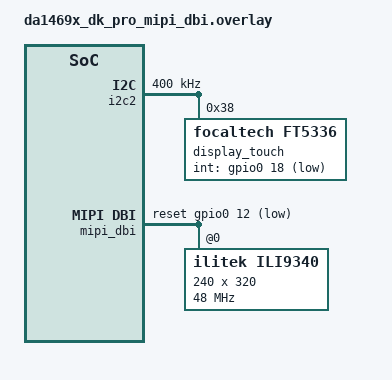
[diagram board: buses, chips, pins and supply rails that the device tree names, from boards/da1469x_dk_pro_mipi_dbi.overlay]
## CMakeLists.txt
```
# Copyright (c) 2023 Fabian Blatz <fabianblatz@gmail.com>
# SPDX-License-Identifier: Apache-2.0

cmake_minimum_required(VERSION 3.20.0)

find_package(Zephyr REQUIRED HINTS $ENV{ZEPHYR_BASE})
project(lvgl_sample)

set(LVGL_DIR ${ZEPHYR_LVGL_MODULE_DIR})

FILE(GLOB app_sources src/*.c)
target_sources(app PRIVATE
    ${app_sources}
    ${LVGL_DIR}/demos/lv_demos.c
)

target_include_directories(app PRIVATE
    ${LVGL_DIR}/demos/
)

target_sources_ifdef(CONFIG_LV_USE_DEMO_MUSIC app PRIVATE
    ${LVGL_DIR}/demos/music/assets/img_lv_demo_music_btn_corner_large.c
    ${LVGL_DIR}/demos/music/assets/img_lv_demo_music_btn_list_pause.c
    ${LVGL_DIR}/demos/music/assets/img_lv_demo_music_btn_list_pause_large.c
    ${LVGL_DIR}/demos/music/assets/img_lv_demo_music_btn_list_play.c
    ${LVGL_DIR}/demos/music/assets/img_lv_demo_music_btn_list_play_large.c
    ${LVGL_DIR}/demos/music/assets/img_lv_demo_music_btn_loop.c
    ${LVGL_DIR}/demos/music/assets/img_lv_demo_music_btn_loop_large.c
    ${LVGL_DIR}/demos/music/assets/img_lv_demo_music_btn_next.c
    ${LVGL_DIR}/demos/music/assets/img_lv_demo_music_btn_next_large.c
    ${LVGL_DIR}/demos/music/assets/img_lv_demo_music_btn_pause.c
    ${LVGL_DIR}/demos/music/assets/img_lv_demo_music_btn_pause_large.c
    ${LVGL_DIR}/demos/music/assets/img_lv_demo_music_btn_play.c
    ${LVGL_DIR}/demos/music/assets/img_lv_demo_music_btn_play_large.c
    ${LVGL_DIR}/demos/music/assets/img_lv_demo_music_btn_prev.c
    ${LVGL_DIR}/demos/music/assets/img_lv_demo_music_btn_prev_large.c
    ${LVGL_DIR}/demos/music/assets/img_lv_demo_music_btn_rnd.c
    ${LVGL_DIR}/demos/music/assets/img_lv_demo_music_btn_rnd_large.c
    ${LVGL_DIR}/demos/music/assets/img_lv_demo_music_corner_left.c
    ${LVGL_DIR}/demos/music/assets/img_lv_demo_music_corner_left_large.c
    ${LVGL_DIR}/demos/music/assets/img_lv_demo_music_corner_right.c
    ${LVGL_DIR}/demos/music/assets/img_lv_demo_music_corner_right_large.c
    ${LVGL_DIR}/demos/music/assets/img_lv_demo_music_cover_1.c
    ${LVGL_DIR}/demos/music/assets/img_lv_demo_music_cover_1_large.c
    ${LVGL_DIR}/demos/music/assets/img_lv_demo_music_cover_2.c
    ${LVGL_DIR}/demos/music/assets/img_lv_demo_music_cover_2_large.c
    ${LVGL_DIR}/demos/music/assets/img_lv_demo_music_cover_3.c
    ${LVGL_DIR}/demos/music/assets/img_lv_demo_music_cover_3_large.c
    ${LVGL_DIR}/demos/music/assets/img_lv_demo_music_icon_1.c
    ${LVGL_DIR}/demos/music/assets/img_lv_demo_music_icon_1_large.c
    ${LVGL_DIR}/demos/music/assets/img_lv_demo_music_icon_2.c
    ${LVGL_DIR}/demos/music/assets/img_lv_demo_music_icon_2_large.c
    ${LVGL_DIR}/demos/music/assets/img_lv_demo_music_icon_3.c
    ${LVGL_DIR}/demos/music/assets/img_lv_demo_music_icon_3_large.c
    ${LVGL_DIR}/demos/music/assets/img_lv_demo_music_icon_4.c
    ${LVGL_DIR}/demos/music/assets/img_lv_demo_music_icon_4_large.c
    ${LVGL_DIR}/demos/music/assets/img_lv_demo_music_list_border.c
    ${LVGL_DIR}/demos/music/assets/img_lv_demo_music_list_border_large.c
    ${LVGL_DIR}/demos/music/assets/img_lv_demo_music_logo.c
    ${LVGL_DIR}/demos/music/assets/img_lv_demo_music_slider_knob.c
    ${LVGL_DIR}/demos/music/assets/img_lv_demo_music_slider_knob_large.c
    ${LVGL_DIR}/demos/music/assets/img_lv_demo_music_wave_bottom.c
    ${LVGL_DIR}/demos/music/assets/img_lv_demo_music_wave_bottom_large.c
    ${LVGL_DIR}/demos/music/assets/img_lv_demo_music_wave_top.c
    ${LVGL_DIR}/demos/music/assets/img_lv_demo_music_wave_top_large.c
    ${LVGL_DIR}/demos/music/lv_demo_music.c
    ${LVGL_DIR}/demos/music/lv_demo_music_list.c
    ${LVGL_DIR}/demos/music/lv_demo_music_main.c
)

target_sources_ifdef(CONFIG_LV_USE_DEMO_BENCHMARK app PRIVATE
    ${LVGL_DIR}/demos/benchmark/assets/img_benchmark_avatar.c
    ${LVGL_DIR}/demos/benchmark/assets/img_benchmark_lvgl_logo_argb.c
    ${LVGL_DIR}/demos/benchmark/assets/img_benchmark_lvgl_logo_rgb.c
    ${LVGL_DIR}/demos/benchmark/assets/lv_font_benchmark_montserrat_12_aligned.c
    ${LVGL_DIR}/demos/benchmark/assets/lv_font_benchmark_montserrat_14_aligned.c
    ${LVGL_DIR}/demos/benchmark/assets/lv_font_benchmark_montserrat_16_aligned.c
    ${LVGL_DIR}/demos/benchmark/assets/lv_font_benchmark_montserrat_18_aligned.c
    ${LVGL_DIR}/demos/benchmark/assets/lv_font_benchmark_montserrat_20_aligned.c
    ${LVGL_DIR}/demos/benchmark/assets/lv_font_benchmark_montserrat_24_aligned.c
    ${LVGL_DIR}/demos/benchmark/assets/lv_font_benchmark_montserrat_26_aligned.c
    ${LVGL_DIR}/demos/benchmark/lv_demo_benchmark.c
)

target_sources_ifdef(CONFIG_LV_USE_DEMO_STRESS app PRIVATE
    ${LVGL_DIR}/demos/stress/lv_demo_stress.c
)

target_sources_ifdef(CONFIG_LV_USE_DEMO_WIDGETS app PRIVATE
    ${LVGL_DIR}/demos/widgets/assets/img_clothes.c
    ${LVGL_DIR}/demos/widgets/assets/img_demo_widgets_avatar.c
    ${LVGL_DIR}/demos/widgets/assets/img_demo_widgets_needle.c
    ${LVGL_DIR}/demos/widgets/assets/img_lvgl_logo.c
    ${LVGL_DIR}/demos/widgets/lv_demo_widgets.c
    ${LVGL_DIR}/demos/widgets/lv_demo_widgets_analytics.c
    ${LVGL_DIR}/demos/widgets/lv_demo_widgets_components.c
    ${LVGL_DIR}/demos/widgets/lv_demo_widgets_profile.c
    ${LVGL_DIR}/demos/widgets/lv_demo_widgets_shop.c
)

target_sources_ifdef(CONFIG_LV_USE_DEMO_KEYPAD_AND_ENCODER app PRIVATE
    ${LVGL_DIR}/demos/keypad_encoder/lv_demo_keypad_encoder.c
)

target_sources_ifdef(CONFIG_LV_USE_DEMO_RENDER app PRIVATE
    ${LVGL_DIR}/demos/render/lv_demo_render.c
    ${LVGL_DIR}/demos/render/assets/img_render_lvgl_logo_rgb565.c
    ${LVGL_DIR}/demos/render/assets/img_render_lvgl_logo_rgb565a8.c
    ${LVGL_DIR}/demos/render/assets/img_render_lvgl_logo_xrgb8888.c
    ${LVGL_DIR}/demos/render/assets/img_render_lvgl_logo_argb8888_premultiplied.c
    ${LVGL_DIR}/demos/render/assets/img_render_lvgl_logo_argb8888.c
    ${LVGL_DIR}/demos/render/assets/img_render_lvgl_logo_rgb888.c
    ${LVGL_DIR}/demos/render/assets/img_render_arc_bg.c
    ${LVGL_DIR}/demos/render/assets/img_render_lvgl_logo_i1.c
    ${LVGL_DIR}/demos/render/assets/img_render_lvgl_logo_rgb565_swapped.c
    ${LVGL_DIR}/demos/render/assets/img_render_lvgl_logo_l8.c
)
```

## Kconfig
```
# Copyright (c) 2023 Fabian Blatz <fabianblatz@gmail.com>
# SPDX-License-Identifier: Apache-2.0

choice LV_Z_DEMO
	prompt "LVGL demo to build"
	default LV_Z_DEMO_MUSIC
	help
	  Demo application to build.

config LV_Z_DEMO_MUSIC
	bool "LVGL music demo"
	select LV_USE_DEMO_MUSIC
	help
	  Build music player demo application.

config LV_Z_DEMO_BENCHMARK
	bool "LVGL benchmark demo"
	select LV_USE_DEMO_BENCHMARK
	select LV_USE_DEMO_WIDGETS
	imply LV_USE_PERF_MONITOR
	imply LV_USE_SYSMON
	help
	  Build benchmarking demo application.

config LV_Z_DEMO_STRESS
	bool "LVGL stress demo"
	select LV_USE_DEMO_STRESS
	help
	  Build stress testing demo application.

config LV_Z_DEMO_WIDGETS
	bool "LVGL widgets demo"
	select LV_USE_DEMO_WIDGETS
	help
	  Build widgets demo application.

config LV_Z_DEMO_KEYPAD_AND_ENCODER
	bool "LVGL keypad and encoder demo"
	select LV_USE_DEMO_KEYPAD_AND_ENCODER
	help
	  Build keypad and encoder demo application.

config LV_Z_DEMO_RENDER
	bool "LVGL render demo"
	select LV_USE_DEMO_RENDER
	help
	  Build render demo application.

endchoice

if LV_Z_DEMO_RENDER

config LV_Z_DEMO_RENDER_SCENE_DYNAMIC
	bool "Switch scenes dynamically"
	help
	  Switch between scenes to render dynamically.

config LV_Z_DEMO_RENDER_SCENE_INDEX
	int "Index of the rendered scene"
	depends on !LV_Z_DEMO_RENDER_SCENE_DYNAMIC
	default 0
	range 0 11
	help
	  Render scene by its index (refer to lv_demo_render.h)

config LV_Z_DEMO_RENDER_DYNAMIC_SCENE_TIMEOUT
	int "Seconds each rendered scene is shown"
	depends on LV_Z_DEMO_RENDER_SCENE_DYNAMIC
	default 3
	help
	  Seconds each rendered scenar is shown

endif

configdefault CPU_LOAD
	default y if LV_USE_SYSMON

configdefault LV_Z_POINTER_FROM_CHOSEN_TOUCH
	default n if LV_Z_DEMO_KEYPAD_AND_ENCODER

source "Kconfig.zephyr"
```

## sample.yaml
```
sample:
  description: LVGL sample, containing all upstream demos
  name: LVGL demos
common:
  modules:
    - lvgl
  harness: console
  filter: dt_chosen_enabled("zephyr,display")
  tags:
    - samples
    - display
    - lvgl
    - gui
  harness_config:
    fixture: fixture_display
    type: one_line
    regex:
      - >-
        (\d+ free bytes, \d+ allocated bytes, overhead = \d+
        bytes \(\d+\.\d+%\)|lvgl in malloc mode)
tests:
  sample.modules.lvgl.demo_music:
    platform_allow:
      - native_sim
    extra_configs:
      - CONFIG_LV_Z_DEMO_MUSIC=y
  sample.modules.lvgl.demo_benchmark:
    platform_allow:
      - native_sim
    extra_configs:
      - CONFIG_LV_Z_DEMO_BENCHMARK=y
      - CONFIG_LV_USE_DEMO_WIDGETS=y
  sample.modules.lvgl.demo_stress:
    platform_allow:
      - native_sim
    extra_configs:
      - CONFIG_LV_Z_DEMO_STRESS=y
  sample.modules.lvgl.demo_widgets:
    platform_allow:
      - native_sim
    extra_configs:
      - CONFIG_LV_Z_DEMO_WIDGETS=y
  sample.modules.lvgl.demo_keypad_encoder:
    platform_allow:
      - native_sim
    extra_configs:
      - CONFIG_LV_Z_DEMO_KEYPAD_AND_ENCODER=y
  sample.modules.lvgl.demo_render:
    platform_allow:
      - native_sim
    extra_configs:
      - CONFIG_LV_Z_DEMO_RENDER=y
  sample.modules.lvgl.demo_benchmark.lvgl_auto:
    platform_allow:
      - native_sim
    extra_configs:
      - CONFIG_LV_Z_DEMO_BENCHMARK=y
      - CONFIG_LV_USE_DEMO_WIDGETS=y
      - CONFIG_LV_Z_RUN_LVGL_ON_WORKQUEUE=y
      - CONFIG_LV_Z_LVGL_WORKQUEUE_STACK_SIZE=8192
      - CONFIG_LV_Z_LVGL_WORKQUEUE_PRIORITY=0
  sample.modules.lvgl.demos.rk043fn66hs_ctg:
    platform_allow: mimxrt1060_evk/mimxrt1062/qspi
    extra_args: SHIELD=rk043fn66hs_ctg
    extra_configs:
      - CONFIG_LV_Z_DEMO_BENCHMARK=y
    tags:
      - shield
  sample.modules.lvgl.demos.rk055hdmipi4ma0:
    platform_allow:
      - mimxrt1170_evk/mimxrt1176/cm7
      - mimxrt595_evk/mimxrt595s/cm33
      - mimxrt700_evk/mimxrt798s/cm33_cpu0
    extra_args: SHIELD=rk055hdmipi4ma0
    extra_configs:
      - CONFIG_LV_Z_DEMO_BENCHMARK=y
    tags:
      - shield
  sample.modules.lvgl.demos.g1120b0mipi:
    platform_allow: mimxrt700_evk/mimxrt798s/cm33_cpu0
    extra_args: SHIELD=g1120b0mipi
    extra_configs:
      - CONFIG_LV_Z_DEMO_BENCHMARK=y
    tags:
      - shield
  sample.modules.lvgl.demos.zc143ac72mipi:
    platform_allow: mimxrt700_evk/mimxrt798s/cm33_cpu0
    extra_args: SHIELD=zc143ac72mipi
    extra_configs:
      - CONFIG_LV_Z_DEMO_BENCHMARK=y
    tags:
      - shield
  sample.modules.lvgl.demos.st_b_lcd40_dsi1_mb1166:
    filter: dt_compat_enabled("orisetech,otm8009a")
    platform_allow: stm32h747i_disco/stm32h747xx/m7
    extra_args: SHIELD=st_b_lcd40_dsi1_mb1166
    extra_configs:
      - CONFIG_LV_Z_DEMO_BENCHMARK=y
    tags:
      - shield
  sample.modules.lvgl.demos.st_b_lcd40_dsi1_mb1166_a09:
    filter: dt_compat_enabled("frida,nt35510")
    platform_allow: stm32h747i_disco/stm32h747xx/m7
    extra_args: SHIELD=st_b_lcd40_dsi1_mb1166_a09
    extra_configs:
      - CONFIG_LV_Z_DEMO_BENCHMARK=y
    tags:
      - shield
  sample.modules.lvgl.demos.rtkmipilcdb00000be:
    platform_allow:
      - ek_ra8d1
      - ek_ra8p1/r7ka8p1kflcac/cm85
    extra_args: SHIELD=rtkmipilcdb00000be
    tags:
      - shield
  sample.modules.lvgl.demos.rtk7eka6m3b00001bu:
    platform_allow: ek_ra8d1
    extra_args:
      - SHIELD="rtk7eka6m3b00001bu;ek_ra8d1_rtk7eka6m3b00001bu"
    extra_configs:
      - CONFIG_LV_DEMO_MUSIC_LANDSCAPE=y
    tags:
      - shield
  sample.modules.lvgl.demos.rtklcdpar1s00001be:
    platform_allow:
      - ek_ra8p1/r7ka8p1kflcac/cm85
      - ek_ra8d2/r7ka8d2kflcac/cm85
    harness: console
    harness_config:
      fixture: fixture_display
    extra_args:
      - SHIELD=rtklcdpar1s00001be
    extra_configs:
      - CONFIG_LV_DEMO_MUSIC_LANDSCAPE=y
    tags:
      - shield
```

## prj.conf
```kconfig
CONFIG_MAIN_STACK_SIZE=7168
CONFIG_LOG=y
CONFIG_SHELL=y

CONFIG_LVGL=y
CONFIG_LV_Z_MEM_POOL_SIZE=58368
CONFIG_LV_Z_SHELL=y
CONFIG_LV_USE_MONKEY=y

CONFIG_DISPLAY=y
CONFIG_INPUT=y

CONFIG_LV_FONT_MONTSERRAT_12=y
CONFIG_LV_FONT_MONTSERRAT_14=y
CONFIG_LV_FONT_MONTSERRAT_16=y
CONFIG_LV_FONT_MONTSERRAT_18=y
CONFIG_LV_FONT_MONTSERRAT_24=y

# Benchmark Demo
CONFIG_LV_USE_FONT_COMPRESSED=y
# Let the performance monitor report real CPU usage. Only available on targets
# that support it (Cortex-M/A, RISC-V, Xtensa); overridden to n for native_sim.
CONFIG_CPU_LOAD=y
```

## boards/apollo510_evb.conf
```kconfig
CONFIG_LV_USE_DRAW_AMBIQ=y
CONFIG_LV_USE_AMBIQ_VG=y
CONFIG_LV_DRAW_BUF_ALIGN=8
CONFIG_LV_ATTRIBUTE_MEM_ALIGN_SIZE=8
CONFIG_LV_DRAW_LAYER_SIMPLE_BUF_SIZE=262144
CONFIG_LV_BIN_DECODER_RAM_LOAD=y
# CONFIG_LV_USE_LOG=y
# CONFIG_LV_LOG_LEVEL_WARN=y
# CONFIG_LV_LOG_LEVEL_INFO=y
CONFIG_LV_USE_SYSMON=y
CONFIG_LV_USE_PERF_MONITOR=y
CONFIG_LV_USE_MEM_MONITOR=y
CONFIG_LV_PERF_MONITOR_ALIGN_BOTTOM_MID=y
CONFIG_LV_MEM_MONITOR_ALIGN_TOP_MID=y
CONFIG_LV_COLOR_DEPTH_16=y
CONFIG_LV_DEF_REFR_PERIOD=16

CONFIG_LV_Z_LARGE_CONST_SECTION=".gfx.assets"
CONFIG_LV_Z_COLOR_24_BGR_TO_RGB=n
CONFIG_LV_Z_FLUSH_THREAD=y
CONFIG_LV_Z_AUTO_INIT=y
CONFIG_LV_Z_RUN_LVGL_ON_WORKQUEUE=n
CONFIG_LV_Z_USE_OSAL=y
CONFIG_LV_Z_MEM_POOL_SYS_HEAP=y
CONFIG_LV_Z_MEM_POOL_SIZE=262144
CONFIG_LV_Z_MEMORY_POOL_CUSTOM_SECTION=y
CONFIG_LV_Z_VDB_SIZE=100
CONFIG_LV_Z_MONOCHROME_CONVERSION_BUFFER=n
CONFIG_LV_Z_BUFFER_ALLOC_DYNAMIC=y
CONFIG_LV_Z_REFRESH_AREA_WIDTH=392
CONFIG_LV_Z_REFRESH_AREA_HEIGHT=392

#CONFIG_NO_OPTIMIZATIONS=y
CONFIG_MAIN_STACK_SIZE=8192
CONFIG_SYSTEM_WORKQUEUE_STACK_SIZE=2048
CONFIG_CPU_LOAD=y
CONFIG_SYS_HEAP_RUNTIME_STATS=y



# Dynamic thread support
CONFIG_DYNAMIC_THREAD=y
CONFIG_DYNAMIC_THREAD_ALLOC=y
CONFIG_DYNAMIC_THREAD_PREFER_ALLOC=y


CONFIG_HEAP_MEM_POOL_SIZE=20480
CONFIG_LV_Z_FLUSH_THREAD_STACK_SIZE=4096

CONFIG_INPUT_MODE_SYNCHRONOUS=y

# PSRAM
CONFIG_MEMC=y
CONFIG_MEMC_MSPI_APS_Z8=y
CONFIG_MEMC_MSPI_APS51216BA=y
```

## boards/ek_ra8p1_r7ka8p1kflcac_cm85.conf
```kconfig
# Copyright (c) 2025 Renesas Electronics Corporation
# SPDX-License-Identifier: Apache-2.0

CONFIG_LV_Z_MEM_POOL_SIZE=245760
CONFIG_LV_DRAW_LAYER_SIMPLE_BUF_SIZE=49152
CONFIG_MAIN_STACK_SIZE=8192
CONFIG_IDLE_STACK_SIZE=1024
```

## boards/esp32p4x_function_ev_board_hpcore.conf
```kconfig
#
# Copyright (c) 2026 Espressif Systems (Shanghai) Co., Ltd.
#
# SPDX-License-Identifier: Apache-2.0
#

CONFIG_LV_USE_LOG=y
CONFIG_LV_LOG_LEVEL_USER=y

CONFIG_MAIN_STACK_SIZE=16384

# Render at the panel's native RGB888 into two whole screen buffers. The
# driver scans out the full size buffer it is handed, so presenting a frame
# points the scanout at it instead of copying it.
CONFIG_LV_COLOR_FORMAT_RGB888=y
CONFIG_LV_Z_BUFFER_ALLOC_STATIC=y
CONFIG_LV_Z_DOUBLE_VDB=y
CONFIG_LV_Z_DIRECT_RENDERING=y
CONFIG_LV_Z_VDB_CUSTOM_SECTION=y
CONFIG_LV_Z_VDB_ALIGN=128
CONFIG_DISPLAY_ESP32_DSI_FB_NUM=0

# The rendering buffers are static and live in external RAM, so the heap
# carved out of it shrinks to leave room for them.
CONFIG_SOC_FAMILY_ESPRESSIF_SPIRAM_HEAP_SIZE=2097152

# The pool is linked into .lvgl_heap, which the SoC linker script places in
# external RAM, so it is not bound by internal SRAM. At 1024x600 the software
# renderer allocates sizeable intermediate buffers for the transform and arc
# paths, and exhausting the pool faults inside them.
CONFIG_LV_Z_MEMORY_POOL_CUSTOM_SECTION=y
CONFIG_LV_Z_MEM_POOL_SIZE=2097152

# Flush from the LVGL thread. The flush thread hands the buffer to the driver
# from a second thread and never calls lv_display_flush_ready(), so LVGL is
# free to render the next frame into a buffer the driver has not finished
# presenting, which shows as whole-screen flicker on this panel.
CONFIG_LV_Z_FLUSH_THREAD=n

# Layer chunks are drawn in software, so an undersized buffer splits every
# layered draw into many passes. LVGL asks for about a twentieth of the
# screen; the default 24 KB is a seventy-fifth of this 1024x600 RGB888 panel.
CONFIG_LV_DRAW_LAYER_SIMPLE_BUF_SIZE=98304

# Align the draw buffers to the L2 cache line, which is 128 bytes with the
# cache size selected below.
CONFIG_LV_DRAW_BUF_ALIGN=128

# The framebuffers live in external RAM, so every rendered pixel crosses the
# PSRAM bus. The largest L2 cache keeps far more of that traffic on chip and
# is worth well over a quarter of the frame rate here. It is carved out of
# internal SRAM, which is why the system heap below is smaller than the
# default would be. A 512 KB cache uses 128-byte lines, which the draw
# buffer alignment above matches.
CONFIG_SOC_ESP32P4_CACHE_L2_512KB=y

# Rendering a demo scene keeps the CPU busy for long stretches, and the input
# thread runs at the lowest priority by default, so it does not get to drain
# the queue until the frame is done and the touches are dropped by then.
CONFIG_INPUT_THREAD_PRIORITY_OVERRIDE=y
CONFIG_INPUT_THREAD_PRIORITY=-1
CONFIG_INPUT_QUEUE_MAX_MSGS=64
CONFIG_LV_Z_POINTER_INPUT_MSGQ_COUNT=64

# Shorter refresh period
CONFIG_LV_DEF_REFR_PERIOD=16

# Real CPU-load measurement so the perf monitor CPU% is meaningful
CONFIG_CPU_LOAD=y
```

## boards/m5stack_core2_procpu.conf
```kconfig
# Copyright 2023 Fabian Blatz <fabianblatz@gmail.com>
# SPDX-License-Identifier: Apache-2.0

CONFIG_MAIN_STACK_SIZE=4096
```

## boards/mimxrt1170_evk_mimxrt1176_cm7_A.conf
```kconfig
# Copyright 2023 Fabian Blatz <fabianblatz@gmail.com>
# SPDX-License-Identifier: Apache-2.0

# Enable PXP DMA engine and set rotation angle to 0 degrees.
# This allows us to verify the DMA driver functions without altering
# the output image
CONFIG_DMA=y
CONFIG_MCUX_ELCDIF_PXP=y
```

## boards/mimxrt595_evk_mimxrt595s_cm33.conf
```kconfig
#
# Copyright 2024, NXP
#
# SPDX-License-Identifier: Apache-2.0
#

# Sample will allocate buffer equal to: (panelwidth / 8) * (panelwidth / 4) * pixel depth. For a
# 1280x720 display in a 16-bpp format (e.g. RGB565), this is (1280 / 8) * (720 / 4) * 2 = 57600
# bytes. We include 128 bytes of padding for kernel heap structures
CONFIG_HEAP_MEM_POOL_SIZE=57600
```

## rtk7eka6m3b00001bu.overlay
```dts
/*
 * Copyright (c) 2025 Renesas Electronics Corporation
 *
 * SPDX-License-Identifier: Apache-2.0
 */

/ {
	lvgl_pointer {
		compatible = "zephyr,lvgl-pointer-input";
		swap-xy;
		input = <&ft5336_rtk7eka6m3b00001bu>;
	};
};
```

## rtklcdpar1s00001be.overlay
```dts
/*
 * Copyright (c) 2025 Renesas Electronics Corporation
 *
 * SPDX-License-Identifier: Apache-2.0
 */

/ {
	lvgl_pointer {
		compatible = "zephyr,lvgl-pointer-input";
		swap-xy;
		input = <&ft5336_rtklcdpar1s00001be>;
	};
};
```

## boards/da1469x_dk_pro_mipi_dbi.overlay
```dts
/*
 * Copyright (c) 2023 Renesas Electronics Corporation
 *
 * SPDX-License-Identifier: Apache-2.0
 */

 #include <zephyr/dt-bindings/display/ili9xxx.h>
 #include <zephyr/dt-bindings/gpio/gpio.h>

/ {
    chosen {
        zephyr,display = &ili9340;
    };

    lvgl_pointer {
        input = <&display_touch>;
        status = "okay";
        swap-xy;
        invert-x;
        invert-y;
    };
};

&i2c2 {
    clock-frequency = <400000>;

    display_touch: ft6206@38 {
        compatible = "focaltech,ft5336";
        status = "okay";
        reg = <0x38>;
        int-gpios = <&gpio0 18 GPIO_ACTIVE_LOW>;
    };
};

&mipi_dbi {
    reset-gpios = <&gpio0 12 GPIO_ACTIVE_LOW>;
    status = "okay";
    spi-dev = <&spi2>;

    ili9340: ili9340@0 {
        compatible = "ilitek,ili9340";
        mipi-max-frequency = <48000000>;
        status = "okay";
        reg = <0>;
        width = <240>;
        height = <320>;
        pixel-format = <ILI9XXX_PIXEL_FORMAT_RGB565>;
        rotation = <0>;
    };
};
```

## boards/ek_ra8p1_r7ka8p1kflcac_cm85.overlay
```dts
/*
 * Copyright (c) 2025 Renesas Electronics Corporation
 *
 * SPDX-License-Identifier: Apache-2.0
 */

/delete-node/ &code_mram_cm85;
/delete-node/ &code_mram_cm33;

/ {
	chosen {
		/delete-property/ zephyr,code-partition;
	};
};

&mram_ctrl {
	code_mram_cm85: mram@2000000 {
		compatible = "renesas,ra-nv-mram";
		reg = <0x2000000 DT_SIZE_M(1)>;
		write-block-size = <1>;
		erase-block-size = <32>;
	};
};
```

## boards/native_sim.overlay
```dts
/*
 * Copyright (c) 2023, Fabian Blatz <fabianblatz@gmail.com>
 *
 * SPDX-License-Identifier: Apache-2.0
 */
#include <zephyr/dt-bindings/input/input-event-codes.h>

&sdl_dc {
	compatible = "zephyr,sdl-dc";
	height = <272>;
	width = <480>;
};

/ {
	lvgl_encoder: lvgl_encoder {
		compatible = "zephyr,lvgl-encoder-input";
		input = <&input_sdl_touch>;
		rotation-input-code = <INPUT_REL_WHEEL>;
		button-input-code = <INPUT_BTN_MIDDLE>;
	};
};
```

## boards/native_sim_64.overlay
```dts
/*
 * Copyright (c) 2023, Fabian Blatz <fabianblatz@gmail.com>
 *
 * SPDX-License-Identifier: Apache-2.0
 */
#include "native_posix.overlay"
```

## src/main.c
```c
/*
 * Copyright (c) 2023 Fabian Blatz <fabianblatz@gmail.com>
 *
 * SPDX-License-Identifier: Apache-2.0
 */

#include <zephyr/kernel.h>
#include <zephyr/drivers/display.h>
#include <lvgl.h>
#include <lvgl_mem.h>
#include <lvgl_zephyr.h>
#include <lv_demos.h>
#include <stdio.h>

#define LOG_LEVEL CONFIG_LOG_DEFAULT_LEVEL
#include <zephyr/logging/log.h>
LOG_MODULE_REGISTER(app);

int main(void)
{
	const struct device *display_dev;
#ifdef CONFIG_LV_Z_DEMO_RENDER_SCENE_DYNAMIC
	k_timepoint_t next_scene_switch;
	lv_demo_render_scene_t cur_scene = LV_DEMO_RENDER_SCENE_FILL;
#endif /* CONFIG_LV_Z_DEMO_RENDER_SCENE_DYNAMIC */
	int ret;

	display_dev = DEVICE_DT_GET(DT_CHOSEN(zephyr_display));
	if (!device_is_ready(display_dev)) {
		LOG_ERR("Device not ready, aborting test");
		return 0;
	}

	lvgl_lock();

#if defined(CONFIG_LV_Z_DEMO_MUSIC)
	lv_demo_music();
#elif defined(CONFIG_LV_Z_DEMO_BENCHMARK)
	lv_demo_benchmark();
#elif defined(CONFIG_LV_Z_DEMO_STRESS)
	lv_demo_stress();
#elif defined(CONFIG_LV_Z_DEMO_WIDGETS)
	lv_demo_widgets();
#elif defined(CONFIG_LV_Z_DEMO_KEYPAD_AND_ENCODER)
	lv_demo_keypad_encoder();
#elif defined(CONFIG_LV_Z_DEMO_RENDER)

#ifdef CONFIG_LV_Z_DEMO_RENDER_SCENE_DYNAMIC
	lv_demo_render(cur_scene, 255);
	next_scene_switch =
		sys_timepoint_calc(K_SECONDS(CONFIG_LV_Z_DEMO_RENDER_DYNAMIC_SCENE_TIMEOUT));
#else
	lv_demo_render(CONFIG_LV_Z_DEMO_RENDER_SCENE_INDEX, 255);
#endif /* CONFIG_LV_Z_DEMO_RENDER_SCENE_DYNAMIC */

#else
#error Enable one of the demos CONFIG_LV_Z_DEMO_*
#endif

#ifndef CONFIG_LV_Z_RUN_LVGL_ON_WORKQUEUE
	lv_timer_handler();
#endif
	lvgl_unlock();

	ret = display_blanking_off(display_dev);
	if (ret < 0 && ret != -ENOSYS) {
		LOG_ERR("Failed to turn blanking off (error %d)", ret);
		return 0;
	}

#ifdef CONFIG_LV_Z_MEM_POOL_SYS_HEAP
	lvgl_print_heap_info(false);
#else
	printf("lvgl in malloc mode\n");
#endif
	while (1) {
#ifndef CONFIG_LV_Z_RUN_LVGL_ON_WORKQUEUE
		uint32_t sleep_ms;

		lvgl_lock();
		sleep_ms = lv_timer_handler();
		lvgl_unlock();

		k_msleep(MIN(sleep_ms, INT32_MAX));
#else
		/* LVGL managed by dedicated workqueue, just put an application side delay */
		k_msleep(10);
#endif
#ifdef CONFIG_LV_Z_DEMO_RENDER_SCENE_DYNAMIC
		if (sys_timepoint_expired(next_scene_switch)) {
			cur_scene = (cur_scene + 1) % LV_DEMO_RENDER_SCENE_NUM;
			lvgl_lock();
			lv_demo_render(cur_scene, 255);
			lvgl_unlock();
			next_scene_switch = sys_timepoint_calc(
				K_SECONDS(CONFIG_LV_Z_DEMO_RENDER_DYNAMIC_SCENE_TIMEOUT));
		}
#endif /* CONFIG_LV_Z_DEMO_RENDER_SCENE_DYNAMIC */
	}

	return 0;
}
```
